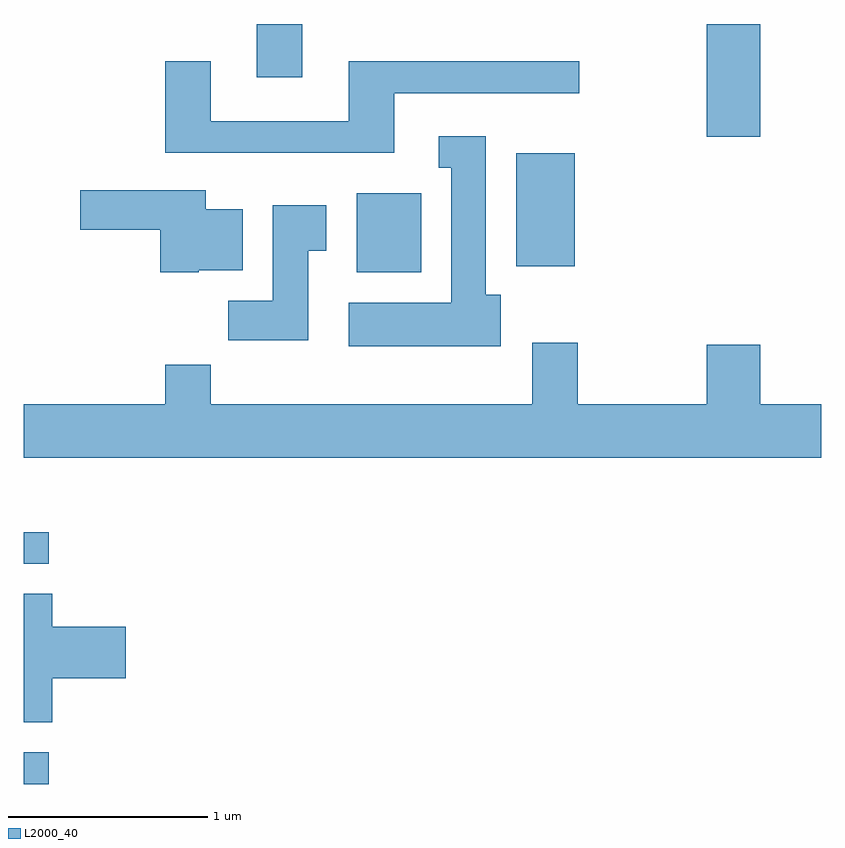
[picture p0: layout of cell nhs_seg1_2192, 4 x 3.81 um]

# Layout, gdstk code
import gdstk
lib = gdstk.Library(unit=1e-6, precision=1e-09)
def R(c, l, rs):  # rectangles x0, y0, x1, y1
    for r in rs: c.add(gdstk.rectangle(r[:2], r[2:], *l))
def P(c, l, *ps):  # polygons
    for p in ps: c.add(gdstk.Polygon(p, *l))
L2000_40 = (2000, 40)

nhs_seg1_2192 = lib.new_cell('nhs_seg1_2192')
R(nhs_seg1_2192, L2000_40, [(251.611,937.901,251.738,938.059), (251.611,939.006,251.738,939.164), (253.281,940.466,253.604,940.864), (254.081,940.496,254.374,941.064), (255.036,941.146,255.304,941.712), (252.781,941.446,253.009,941.712)])
P(nhs_seg1_2192, L2000_40, [(253.469,941.366),(254.398,941.366),(254.398,941.524),(253.241,941.524),(253.241,941.224),(252.549,941.224),(252.549,941.524),(252.321,941.524),(252.321,941.066),(253.469,941.066)],
  [(254.004,940.354),(253.929,940.354),(253.929,941.149),(253.693,941.149),(253.693,940.991),(253.756,940.991),(253.756,940.314),(253.241,940.314),(253.241,940.096),(254.004,940.096)],
  [(252.49,940.476),(252.709,940.476),(252.709,940.784),(252.524,940.784),(252.524,940.879),(251.896,940.879),(251.896,940.681),(252.296,940.681),(252.296,940.466),(252.49,940.466)],
  [(253.039,940.576),(253.129,940.576),(253.129,940.804),(252.861,940.804),(252.861,940.324),(252.636,940.324),(252.636,940.126),(253.039,940.126)],
  [(255.611,939.804),(255.304,939.804),(255.304,940.104),(255.036,940.104),(255.036,939.804),(254.389,939.804),(254.389,940.114),(254.161,940.114),(254.161,939.804),(252.549,939.804),(252.549,940.004),(252.321,940.004),(252.321,939.804),(251.611,939.804),(251.611,939.536),(255.611,939.536)],
  [(251.754,938.431),(252.124,938.431),(252.124,938.689),(251.754,938.689),(251.754,938.854),(251.611,938.854),(251.611,938.211),(251.754,938.211)])

lib.write_gds('nhs_seg1_2192.gds')
